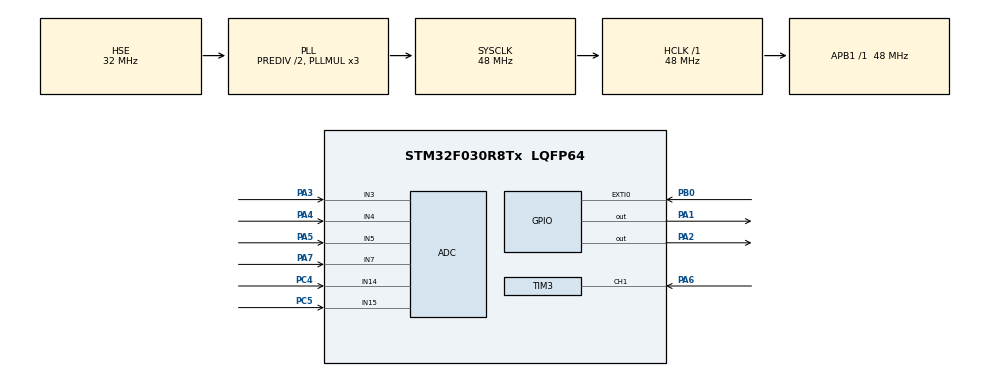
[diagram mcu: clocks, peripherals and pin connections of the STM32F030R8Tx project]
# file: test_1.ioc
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ADC.DMAContinuousRequests=DISABLE
ADC.EOCSelection=ADC_EOC_SEQ_CONV
ADC.ExternalTrigConv=ADC_EXTERNALTRIGCONV_T15_TRGO
ADC.SamplingTime=ADC_SAMPLETIME_55CYCLES_5
Dma.ADC.0.Direction=DMA_PERIPH_TO_MEMORY
Dma.ADC.0.Instance=DMA1_Channel1
Dma.ADC.0.MemDataAlignment=DMA_MDATAALIGN_HALFWORD
Dma.ADC.0.MemInc=DMA_MINC_ENABLE
Dma.ADC.0.Mode=DMA_CIRCULAR
Dma.ADC.0.PeriphDataAlignment=DMA_PDATAALIGN_HALFWORD
Dma.ADC.0.PeriphInc=DMA_PINC_DISABLE
Dma.ADC.0.Priority=DMA_PRIORITY_LOW
Dma.Request0=ADC
Mcu.Family=STM32F0
Mcu.Name=STM32F030R8Tx
Mcu.Package=LQFP64
NVIC.DMA1_Channel1_IRQn=true\:0\:0\:false\:false\:true\:false\:true\:true
NVIC.EXTI0_1_IRQn=true\:0\:0\:false\:false\:true\:true\:true\:true
NVIC.TIM15_IRQn=true\:0\:0\:false\:false\:true\:true\:true\:true
NVIC.TIM3_IRQn=true\:0\:0\:false\:false\:true\:true\:true\:true
PA1.GPIO_PuPd=GPIO_PULLDOWN
PA1.Signal=GPIO_Output
PA13.GPIO_Label=SWDIO
PA13.Mode=Serial_Wire
PA13.Signal=SYS_SWDIO
PA14.GPIO_Label=SWCLK
PA14.Mode=Serial_Wire
PA14.Signal=SYS_SWCLK
PA2.GPIO_PuPd=GPIO_PULLDOWN
PA2.Signal=GPIO_Output
PA3.Mode=IN3
PA3.Signal=ADC_IN3
PA4.Mode=IN4
PA4.Signal=ADC_IN4
PA5.Mode=IN5
PA5.Signal=ADC_IN5
PA6.GPIO_PuPd=GPIO_PULLDOWN
PA6.Signal=S_TIM3_CH1
PA7.Mode=IN7
PA7.Signal=ADC_IN7
PB0.GPIO_PuPd=GPIO_PULLDOWN
PB0.Signal=GPXTI0
PC4.Mode=IN14
PC4.Signal=ADC_IN14
PC5.Mode=IN15
PC5.Signal=ADC_IN15
PF0-OSC_IN.Mode=HSE-External-Oscillator
PF0-OSC_IN.Signal=RCC_OSC_IN
PF1-OSC_OUT.Mode=HSE-External-Oscillator
PF1-OSC_OUT.Signal=RCC_OSC_OUT
ProjectManager.HeapSize=0x200
ProjectManager.StackSize=0x400
ProjectManager.TargetToolchain=STM32CubeIDE
RCC.AHBFreq_Value=48000000
RCC.APB1Freq_Value=48000000
RCC.APB1TimFreq_Value=48000000
RCC.HCLKFreq_Value=48000000
RCC.HSE_VALUE=32000000
RCC.PLLDivider=RCC_PREDIV_DIV2
RCC.PLLMUL=RCC_PLL_MUL3
RCC.PLLSourceVirtual=RCC_PLLSOURCE_HSE
RCC.SYSCLKFreq_VALUE=48000000
RCC.SYSCLKSource=RCC_SYSCLKSOURCE_PLLCLK
SH.S_TIM3_CH1.0=TIM3_CH1,Input_Capture1_from_TI1
TIM15.Period=1
TIM15.Prescaler=1999
TIM15.TIM_MasterOutputTrigger=TIM_TRGO_UPDATE
TIM3.Channel-Input_Capture1_from_TI1=TIM_CHANNEL_1
TIM3.Period=65000
TIM3.Prescaler=0
VP_TIM15_VS_ClockSourceINT.Mode=Internal
VP_TIM3_VS_ClockSourceINT.Mode=Internal
board=32F0308DISCOVERY

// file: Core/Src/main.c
/* USER CODE BEGIN Header */
/**
  ******************************************************************************
  * @file           : main.c
  * @brief          : Main program body
  ******************************************************************************
  * @attention
  *
  * <h2><center>&copy; Copyright (c) 2022 STMicroelectronics.
  * All rights reserved.</center></h2>
  *
  * This software component is licensed by ST under BSD 3-Clause license,
  * the "License"; You may not use this file except in compliance with the
  * License. You may obtain a copy of the License at:
  *                        opensource.org/licenses/BSD-3-Clause
  *
  ******************************************************************************
  */
/* USER CODE END Header */

#include "main.h"

/* USER CODE BEGIN PD */
#define VOLTAGE_COEFFICIENT 0.2725 //Коэффициент напряжения
#define CURRENT_COEFFICIENT 0.00625 //Коэффициент тока
#define MEASUREMENT_FREQUENCY 1000 //Частота измерений
#define ZERO_AXIS 2030 //Средняя точка
#define DEAD_ZONE_SQRT 400 //Квадрат мертвой зоны около опорного напряжения
#define FREQ_LIM_UPP 60 //Верхняя граница чувствительности по частоте Гц
#define FREQ_LIM_LOW 40 //Нижняя граница чувствительности по частоте Гц
/* USER CODE END PD */

ADC_HandleTypeDef hadc;
DMA_HandleTypeDef hdma_adc;

TIM_HandleTypeDef htim3;
TIM_HandleTypeDef htim15;

/* USER CODE BEGIN PV */
uint16_t adc[6] = { 0 }; //Показания АЦП

uint32_t adc_sqrt[6] = { 0 }; //Квадрат мгновенного значения ацп
uint32_t summ_adc_sqrt[6] = { 0 }; //Сумма квадратов мгновенных значений ацп
uint32_t saved_summ_adc_sqrt[6] = { 0 }; //Сохраненная сумма квадратов мгновенных значений ацп
uint32_t prev_saved_summ_adc_sqrt[6] = { 0 }; //Предыдущая сумма квадратов мгновенных значений ацп

uint8_t adc_diff_sqrt[3] = { 0 }; //Квадрат разности мгновенных значения ацп
int32_t summ_adc_diff_sqrt[3] = { 0 }; //Сумма квадратов разности мгновенных значений ацп
int32_t saved_summ_adc_diff_sqrt[3] = { 0 }; //Сохраненная сумма квадратов разности мгновенных значений ацп
int32_t prev_saved_summ_adc_diff_sqrt[3] = { 0 }; //Предыдущая сумма квадратов разности мгновенных значений ацп

float u_rms[3] = { 0.0 }; //Действующее значение напряжения
float i_rms[3] = { 0.0 }; //Действующее значение тока

float u_l[3] = { 0.0 }; //Действующее линейное значение напряжение фазы

uint16_t num_of_meas[6] = { 0 }; //Количество измерений
uint16_t saved_num_of_meas[6] = { 0 }; //Текущее количество измерений
uint16_t prev_saved_num_of_meas[6] = { 0 }; //Предыдущее количество измерений

uint8_t flag_dead_zone = 0; //Флаг перехода измерения в мертвую зону

uint8_t flag_calc = 0; //Флаг разрешения вычисления

uint8_t count_overflow = 0;
uint8_t flag_fr = 0;
uint32_t per = 0;
uint32_t saved_per[3] = { 0 };
float freq = 0;

uint8_t flag_filter = 0;
uint16_t m_1[6] = { 0 };
uint16_t m_2[6] = { 0 };
uint16_t m_3[6] = { 0 };
uint16_t adc_mean[6] = { 0 };
/* USER CODE END PV */

void SystemClock_Config(void);
static void MX_GPIO_Init(void);
static void MX_DMA_Init(void);
static void MX_ADC_Init(void);
static void MX_TIM15_Init(void);
static void MX_TIM3_Init(void);

/* USER CODE BEGIN 0 */
/* Функция извлечения квадратного корня */
uint16_t sqrt_my (uint32_t L)
{
  if (L < 2)
    return (uint16_t) L;

  uint32_t div;
  uint32_t rslt;
  uint32_t temp;

  if (L & 0xFFFF0000L)
    if (L & 0xFF000000L)
      if (L & 0xF0000000L)
	if (L & 0xE0000000L)
	  div = 43771;
	else
	  div = 22250;
      else if (L & 0x0C000000L)
	div = 11310;
      else
	div = 5749;
    else if (L & 0x00F00000L)
      if (L & 0x00C00000L)
	div = 2923;
      else
	div = 1486;
    else if (L & 0x000C0000L)
      div = 755;
    else
      div = 384;
  else if (L & 0xFF00L)
    if (L & 0xF000L)
      if (L & 0xC000L)
	div = 195;
      else
	div = 99;
    else if (L & 0x0C00L)
      div = 50;
    else
      div = 25;
  else if (L & 0xF0L)
    if (L & 0x80L)
      div = 13;
    else
      div = 7;
  else
    div = 3;

  rslt = L;

  while (1)
    {
      temp = L / div;
      temp += div;

      div = temp >> 1;
      div += temp & 1;

      if (rslt > div)
	rslt = div;
      else
	{
	  if (L / rslt == rslt - 1 && L % rslt == 0)
	    rslt--;

	  return (uint16_t) rslt;
	}
    }
}

/* Обработка показаний ацп */
void adc_processing (uint8_t phase)
{
  /* Если измерение больше запрещенной зоны */
  if (adc_sqrt[phase] > DEAD_ZONE_SQRT)
    {
      /* Был ли выход из запрещенной зоны */
      if (flag_dead_zone & (1 << phase))
	{
	  flag_dead_zone &= ~(1 << phase); //Сбрасываем флаг запрещенной зоны

	  /* Сохраняем вычисленные значения если не ведутся расчеты */
	  if (!(flag_calc & (1 << phase)))
	    {
	      flag_calc |= (1 << phase); //Разрешаем расчет

	      saved_summ_adc_sqrt[phase] = summ_adc_sqrt[phase];
	      saved_num_of_meas[phase] = num_of_meas[phase];
	      (phase < 3) ? (saved_summ_adc_diff_sqrt[phase] = summ_adc_diff_sqrt[phase]) : 0;
	    }
	  /* Обнуляем значения вычисленные значения */
	  summ_adc_sqrt[phase] = 0;
	  num_of_meas[phase] = 0;
	  (phase < 3) ? (summ_adc_diff_sqrt[phase] = 0) : 0;
	}

      /* Выхода из запрещенной зоны небыло */
      if (!(flag_dead_zone & (1 << (phase + 3))))
	{
	  ++num_of_meas[phase];
	  summ_adc_sqrt[phase] += adc_sqrt[phase];
	  (phase < 3) ? (summ_adc_diff_sqrt[phase] += adc_diff_sqrt[phase]) : 0;
	}
    }
  /* Если измерение меньше запрещенной зоны */
  else
    {
      flag_dead_zone |= (1 << phase);
    }
}

/* Расчет фазных и линейных напряжений */
void calculation (uint8_t phase)
{

  if (phase < 3)
    {
      u_rms[phase] = (sqrt_my((saved_summ_adc_sqrt[phase] + prev_saved_summ_adc_sqrt[phase]) / (saved_num_of_meas[phase] + prev_saved_num_of_meas[phase]))) * VOLTAGE_COEFFICIENT;
      u_l[phase] = (sqrt_my((saved_summ_adc_diff_sqrt[phase] + prev_saved_summ_adc_diff_sqrt[phase]) / (saved_num_of_meas[phase] + prev_saved_num_of_meas[phase]))) * VOLTAGE_COEFFICIENT;
    }
  else
    {
      i_rms[phase - 3] = 0.006173 * (sqrt_my((saved_summ_adc_sqrt[phase] + prev_saved_summ_adc_sqrt[phase]) / (saved_num_of_meas[phase] + prev_saved_num_of_meas[phase]))) + 0.0123457;
    }
  prev_saved_summ_adc_sqrt[phase] = saved_summ_adc_sqrt[phase];
  prev_saved_num_of_meas[phase] = saved_num_of_meas[phase];
  (phase < 3) ? (prev_saved_summ_adc_diff_sqrt[phase] = saved_summ_adc_diff_sqrt[phase]) : 0;

  flag_calc &= ~(1 << phase);
}

void freq_calculation ()
{
  switch (flag_fr)
    {
    case 0:
      flag_fr = 1;
      saved_per[0] = per;

      break;

    case 1:
      flag_fr = 2;
      saved_per[1] = per;
      break;

    case 2:
      flag_fr = 0;
      saved_per[2] = per;

      freq = 48000000.0 / ((saved_per[0] < saved_per[1]) ? ((saved_per[1] < saved_per[2]) ? saved_per[1] : ((saved_per[2] < saved_per[0]) ? saved_per[0] : saved_per[2])) : ((saved_per[0] < saved_per[2]) ? saved_per[0] : ((saved_per[2] < saved_per[1]) ? saved_per[1] : saved_per[2])));
      break;
    }
}
/* USER CODE END 0 */

int main(void)
{

  /* MCU Configuration--------------------------------------------------------*/

  /* Reset of all peripherals, Initializes the Flash interface and the Systick. */
  HAL_Init();

  /* Configure the system clock */
  SystemClock_Config();

  /* Initialize all configured peripherals */
  MX_GPIO_Init();
  MX_DMA_Init();
  MX_ADC_Init();
  MX_TIM15_Init();
  MX_TIM3_Init();
  /* USER CODE BEGIN 2 */

  HAL_ADCEx_Calibration_Start(&hadc);
  HAL_ADC_Start_DMA(&hadc, (uint32_t *)adc, 6);

  HAL_TIM_Base_Start_IT(&htim15);

  HAL_TIM_Base_Start_IT(&htim3);
  HAL_TIM_IC_Start_IT(&htim3, TIM_CHANNEL_1);
  /* USER CODE END 2 */

  /* Infinite loop */
  /* USER CODE BEGIN WHILE */
  while (1)
    {
      if (flag_calc & (1 << 0) && flag_calc & (1 << 1)  && flag_calc & (1 << 2))
      	{
	  calculation(0);
	  calculation(1);
	  calculation(2);
      	}

      if (flag_calc & (1 << 3))
	{
	  calculation (3);
	}
      if (flag_calc & (1 << 4))
	{
	  calculation (4);
	}
      if (flag_calc & (1 << 5))
	{
	  calculation (5);
	}

      freq_calculation();
    /* USER CODE END WHILE */

    }
}

void SystemClock_Config(void)
{
  RCC_OscInitTypeDef RCC_OscInitStruct = {0};
  RCC_ClkInitTypeDef RCC_ClkInitStruct = {0};

  /** Initializes the CPU, AHB and APB busses clocks
  */
  RCC_OscInitStruct.OscillatorType = RCC_OSCILLATORTYPE_HSI14|RCC_OSCILLATORTYPE_HSE;
  RCC_OscInitStruct.HSEState = RCC_HSE_ON;
  RCC_OscInitStruct.HSI14State = RCC_HSI14_ON;
  RCC_OscInitStruct.HSI14CalibrationValue = 16;
  RCC_OscInitStruct.PLL.PLLState = RCC_PLL_ON;
  RCC_OscInitStruct.PLL.PLLSource = RCC_PLLSOURCE_HSE;
  RCC_OscInitStruct.PLL.PLLMUL = RCC_PLL_MUL3;
  RCC_OscInitStruct.PLL.PREDIV = RCC_PREDIV_DIV2;
  if (HAL_RCC_OscConfig(&RCC_OscInitStruct) != HAL_OK)
  {
    Error_Handler();
  }
  /** Initializes the CPU, AHB and APB busses clocks
  */
  RCC_ClkInitStruct.ClockType = RCC_CLOCKTYPE_HCLK|RCC_CLOCKTYPE_SYSCLK
                              |RCC_CLOCKTYPE_PCLK1;
  RCC_ClkInitStruct.SYSCLKSource = RCC_SYSCLKSOURCE_PLLCLK;
  RCC_ClkInitStruct.AHBCLKDivider = RCC_SYSCLK_DIV1;
  RCC_ClkInitStruct.APB1CLKDivider = RCC_HCLK_DIV1;

  if (HAL_RCC_ClockConfig(&RCC_ClkInitStruct, FLASH_LATENCY_1) != HAL_OK)
  {
    Error_Handler();
  }
}

static void MX_ADC_Init(void)
{

  ADC_ChannelConfTypeDef sConfig = {0};

  /** Configure the global features of the ADC (Clock, Resolution, Data Alignment and number of conversion)
  */
  hadc.Instance = ADC1;
  hadc.Init.ClockPrescaler = ADC_CLOCK_ASYNC_DIV1;
  hadc.Init.Resolution = ADC_RESOLUTION_12B;
  hadc.Init.DataAlign = ADC_DATAALIGN_RIGHT;
  hadc.Init.ScanConvMode = ADC_SCAN_DIRECTION_FORWARD;
  hadc.Init.EOCSelection = ADC_EOC_SEQ_CONV;
  hadc.Init.LowPowerAutoWait = DISABLE;
  hadc.Init.LowPowerAutoPowerOff = DISABLE;
  hadc.Init.ContinuousConvMode = DISABLE;
  hadc.Init.DiscontinuousConvMode = DISABLE;
  hadc.Init.ExternalTrigConv = ADC_EXTERNALTRIGCONV_T15_TRGO;
  hadc.Init.ExternalTrigConvEdge = ADC_EXTERNALTRIGCONVEDGE_RISING;
  hadc.Init.DMAContinuousRequests = DISABLE;
  hadc.Init.Overrun = ADC_OVR_DATA_PRESERVED;
  if (HAL_ADC_Init(&hadc) != HAL_OK)
  {
    Error_Handler();
  }
  /** Configure for the selected ADC regular channel to be converted.
  */
  sConfig.Channel = ADC_CHANNEL_3;
  sConfig.Rank = ADC_RANK_CHANNEL_NUMBER;
  sConfig.SamplingTime = ADC_SAMPLETIME_55CYCLES_5;
  if (HAL_ADC_ConfigChannel(&hadc, &sConfig) != HAL_OK)
  {
    Error_Handler();
  }
  /** Configure for the selected ADC regular channel to be converted.
  */
  sConfig.Channel = ADC_CHANNEL_4;
  if (HAL_ADC_ConfigChannel(&hadc, &sConfig) != HAL_OK)
  {
    Error_Handler();
  }
  /** Configure for the selected ADC regular channel to be converted.
  */
  sConfig.Channel = ADC_CHANNEL_5;
  if (HAL_ADC_ConfigChannel(&hadc, &sConfig) != HAL_OK)
  {
    Error_Handler();
  }
  /** Configure for the selected ADC regular channel to be converted.
  */
  sConfig.Channel = ADC_CHANNEL_7;
  if (HAL_ADC_ConfigChannel(&hadc, &sConfig) != HAL_OK)
  {
    Error_Handler();
  }
  /** Configure for the selected ADC regular channel to be converted.
  */
  sConfig.Channel = ADC_CHANNEL_14;
  if (HAL_ADC_ConfigChannel(&hadc, &sConfig) != HAL_OK)
  {
    Error_Handler();
  }
  /** Configure for the selected ADC regular channel to be converted.
  */
  sConfig.Channel = ADC_CHANNEL_15;
  if (HAL_ADC_ConfigChannel(&hadc, &sConfig) != HAL_OK)
  {
    Error_Handler();
  }

}

static void MX_TIM3_Init(void)
{

  TIM_ClockConfigTypeDef sClockSourceConfig = {0};
  TIM_MasterConfigTypeDef sMasterConfig = {0};
  TIM_IC_InitTypeDef sConfigIC = {0};

  htim3.Instance = TIM3;
  htim3.Init.Prescaler = 0;
  htim3.Init.CounterMode = TIM_COUNTERMODE_UP;
  htim3.Init.Period = 65000;
  htim3.Init.ClockDivision = TIM_CLOCKDIVISION_DIV1;
  htim3.Init.AutoReloadPreload = TIM_AUTORELOAD_PRELOAD_DISABLE;
  if (HAL_TIM_Base_Init(&htim3) != HAL_OK)
  {
    Error_Handler();
  }
  sClockSourceConfig.ClockSource = TIM_CLOCKSOURCE_INTERNAL;
  if (HAL_TIM_ConfigClockSource(&htim3, &sClockSourceConfig) != HAL_OK)
  {
    Error_Handler();
  }
  if (HAL_TIM_IC_Init(&htim3) != HAL_OK)
  {
    Error_Handler();
  }
  sMasterConfig.MasterOutputTrigger = TIM_TRGO_RESET;
  sMasterConfig.MasterSlaveMode = TIM_MASTERSLAVEMODE_DISABLE;
  if (HAL_TIMEx_MasterConfigSynchronization(&htim3, &sMasterConfig) != HAL_OK)
  {
    Error_Handler();
  }
  sConfigIC.ICPolarity = TIM_INPUTCHANNELPOLARITY_RISING;
  sConfigIC.ICSelection = TIM_ICSELECTION_DIRECTTI;
  sConfigIC.ICPrescaler = TIM_ICPSC_DIV1;
  sConfigIC.ICFilter = 0;
  if (HAL_TIM_IC_ConfigChannel(&htim3, &sConfigIC, TIM_CHANNEL_1) != HAL_OK)
  {
    Error_Handler();
  }

}

static void MX_TIM15_Init(void)
{

  TIM_ClockConfigTypeDef sClockSourceConfig = {0};
  TIM_MasterConfigTypeDef sMasterConfig = {0};

  htim15.Instance = TIM15;
  htim15.Init.Prescaler = 1999;
  htim15.Init.CounterMode = TIM_COUNTERMODE_UP;
  htim15.Init.Period = 1;
  htim15.Init.ClockDivision = TIM_CLOCKDIVISION_DIV1;
  htim15.Init.RepetitionCounter = 0;
  htim15.Init.AutoReloadPreload = TIM_AUTORELOAD_PRELOAD_DISABLE;
  if (HAL_TIM_Base_Init(&htim15) != HAL_OK)
  {
    Error_Handler();
  }
  sClockSourceConfig.ClockSource = TIM_CLOCKSOURCE_INTERNAL;
  if (HAL_TIM_ConfigClockSource(&htim15, &sClockSourceConfig) != HAL_OK)
  {
    Error_Handler();
  }
  sMasterConfig.MasterOutputTrigger = TIM_TRGO_UPDATE;
  sMasterConfig.MasterSlaveMode = TIM_MASTERSLAVEMODE_DISABLE;
  if (HAL_TIMEx_MasterConfigSynchronization(&htim15, &sMasterConfig) != HAL_OK)
  {
    Error_Handler();
  }

}

static void MX_DMA_Init(void)
{
  /* DMA controller clock enable */
  __HAL_RCC_DMA1_CLK_ENABLE();

  /* DMA interrupt init */
  /* DMA1_Channel1_IRQn interrupt configuration */
  HAL_NVIC_SetPriority(DMA1_Channel1_IRQn, 0, 0);
  HAL_NVIC_EnableIRQ(DMA1_Channel1_IRQn);

}

static void MX_GPIO_Init(void)
{
  GPIO_InitTypeDef GPIO_InitStruct = {0};

  /* GPIO Ports Clock Enable */
  __HAL_RCC_GPIOF_CLK_ENABLE();
  __HAL_RCC_GPIOA_CLK_ENABLE();
  __HAL_RCC_GPIOC_CLK_ENABLE();
  __HAL_RCC_GPIOB_CLK_ENABLE();

  /*Configure GPIO pin Output Level */
  HAL_GPIO_WritePin(GPIOA, GPIO_PIN_1|GPIO_PIN_2, GPIO_PIN_RESET);

  /*Configure GPIO pins : PA1 PA2 */
  GPIO_InitStruct.Pin = GPIO_PIN_1|GPIO_PIN_2;
  GPIO_InitStruct.Mode = GPIO_MODE_OUTPUT_PP;
  GPIO_InitStruct.Pull = GPIO_PULLDOWN;
  GPIO_InitStruct.Speed = GPIO_SPEED_FREQ_LOW;
  HAL_GPIO_Init(GPIOA, &GPIO_InitStruct);

  /*Configure GPIO pin : PB0 */
  GPIO_InitStruct.Pin = GPIO_PIN_0;
  GPIO_InitStruct.Mode = GPIO_MODE_IT_RISING;
  GPIO_InitStruct.Pull = GPIO_PULLDOWN;
  HAL_GPIO_Init(GPIOB, &GPIO_InitStruct);

  /* EXTI interrupt init*/
  HAL_NVIC_SetPriority(EXTI0_1_IRQn, 0, 0);
  HAL_NVIC_EnableIRQ(EXTI0_1_IRQn);

}

/* USER CODE BEGIN 4 */
void HAL_ADC_ConvCpltCallback (ADC_HandleTypeDef *hadc)
{
  switch (flag_filter)
    {
    case 0:
      flag_filter = 1;

      m_1[0] = adc[0];
      m_1[1] = adc[1];
      m_1[2] = adc[2];
      m_1[3] = adc[3];
      m_1[4] = adc[4];
      m_1[5] = adc[5];
      break;

    case 1:
      flag_filter = 2;

      m_2[0] = adc[0];
      m_2[1] = adc[1];
      m_2[2] = adc[2];
      m_2[3] = adc[3];
      m_2[4] = adc[4];
      m_2[5] = adc[5];
      break;

    case 2:
      flag_filter = 0;

      m_3[0] = adc[0];
      m_3[1] = adc[1];
      m_3[2] = adc[2];
      m_3[3] = adc[3];
      m_3[4] = adc[4];
      m_3[5] = adc[5];

      adc_mean[0] = (m_1[0] < m_2[0]) ? ((m_2[0] < m_3[0]) ? m_2[0] : ((m_3[0] < m_1[0]) ? m_1[0] : m_3[0])) : ((m_1[0] < m_3[0]) ? m_1[0] : ((m_3[0] < m_2[0]) ? m_2[0] : m_3[0]));
      adc_mean[1] = (m_1[1] < m_2[1]) ? ((m_2[1] < m_3[1]) ? m_2[1] : ((m_3[1] < m_1[1]) ? m_1[1] : m_3[1])) : ((m_1[1] < m_3[1]) ? m_1[1] : ((m_3[1] < m_2[1]) ? m_2[1] : m_3[1]));
      adc_mean[2] = (m_1[2] < m_2[2]) ? ((m_2[2] < m_3[2]) ? m_2[2] : ((m_3[2] < m_1[2]) ? m_1[2] : m_3[2])) : ((m_1[2] < m_3[2]) ? m_1[2] : ((m_3[2] < m_2[2]) ? m_2[2] : m_3[2]));
      adc_mean[3] = (m_1[3] < m_2[3]) ? ((m_2[3] < m_3[3]) ? m_2[3] : ((m_3[3] < m_1[3]) ? m_1[3] : m_3[3])) : ((m_1[3] < m_3[3]) ? m_1[3] : ((m_3[3] < m_2[3]) ? m_2[3] : m_3[3]));
      adc_mean[4] = (m_1[4] < m_2[4]) ? ((m_2[4] < m_3[4]) ? m_2[4] : ((m_3[4] < m_1[4]) ? m_1[4] : m_3[4])) : ((m_1[4] < m_3[4]) ? m_1[4] : ((m_3[4] < m_2[4]) ? m_2[4] : m_3[4]));
      adc_mean[5] = (m_1[5] < m_2[5]) ? ((m_2[5] < m_3[5]) ? m_2[5] : ((m_3[5] < m_1[5]) ? m_1[5] : m_3[5])) : ((m_1[5] < m_3[5]) ? m_1[5] : ((m_3[5] < m_2[5]) ? m_2[5] : m_3[5]));

      /* Вычисление квадрата мгновенного значения ацп */
      adc_sqrt[0] = (adc_mean[0] - ZERO_AXIS) * (adc_mean[0] - ZERO_AXIS);
      adc_sqrt[1] = (adc_mean[1] - ZERO_AXIS) * (adc_mean[1] - ZERO_AXIS);
      adc_sqrt[2] = (adc_mean[2] - ZERO_AXIS) * (adc_mean[2] - ZERO_AXIS);

      adc_sqrt[3] = (adc_mean[3] - (ZERO_AXIS + 4)) * (adc_mean[3] - (ZERO_AXIS + 4));
      adc_sqrt[4] = (adc_mean[4] - (ZERO_AXIS + 7)) * (adc_mean[4] - (ZERO_AXIS + 7));
      adc_sqrt[5] = (adc_mean[5] - (ZERO_AXIS - 5)) * (adc_mean[5] - (ZERO_AXIS - 5));

      /* Вычисление квадрата разности мгновенных значения ацп */
      adc_diff_sqrt[0] = (adc_mean[0] - adc_mean[1]) * (adc[0] - adc_mean[1]);
      adc_diff_sqrt[1] = (adc_mean[1] - adc_mean[2]) * (adc[1] - adc_mean[2]);
      adc_diff_sqrt[2] = (adc_mean[2] - adc_mean[0]) * (adc[2] - adc_mean[0]);

      /* Обработка вычисленных значений */
      adc_processing (0);
      adc_processing (1);
      adc_processing (2);
      adc_processing (3);
      adc_processing (4);
      adc_processing (5);
      break;
    }

  /* Запуск нового измерения */
  HAL_ADC_Start_DMA (hadc, (uint32_t*) adc, 6);
}

void
HAL_TIM_IC_CaptureCallback (TIM_HandleTypeDef *htim)
{
  if (htim->Instance == TIM3)
    {
      if (htim->Channel == HAL_TIM_ACTIVE_CHANNEL_1)
	{
	  per = HAL_TIM_ReadCapturedValue (&htim3, TIM_CHANNEL_1) + (65001 * count_overflow);
	  count_overflow = 0;
	  TIM3->CNT = 0;
	}
    }
}

/*
void HAL_TIM_IC_CaptureCallback (TIM_HandleTypeDef *htim)
{
  if (htim->Instance == TIM3)
    {
      if (htim->Channel == HAL_TIM_ACTIVE_CHANNEL_1)
	{
	  switch (flag_fr)
	    {
	    case 0:
	      flag_fr = 1;
	      saved_per[0] = HAL_TIM_ReadCapturedValue (&htim3, TIM_CHANNEL_1) + (65001 * count_overflow);
	      count_overflow = 0;
	      break;

	    case 1:
	      flag_fr = 2;
	      saved_per[1] = HAL_TIM_ReadCapturedValue (&htim3, TIM_CHANNEL_1) + (65001 * count_overflow);
	      count_overflow = 0;
	      break;

	    case 2:
	      flag_fr = 0;
	      saved_per[2] = HAL_TIM_ReadCapturedValue (&htim3, TIM_CHANNEL_1) + (65001 * count_overflow);
	      count_overflow = 0;

	      freq = 48000000.0 / ((saved_per[0] < saved_per[1]) ? ((saved_per[1] < saved_per[2]) ? saved_per[1] : ((saved_per[2] < saved_per[0]) ? saved_per[0] : saved_per[2])) : ((saved_per[0] < saved_per[2]) ? saved_per[0] : ((saved_per[2] < saved_per[1]) ? saved_per[1] : saved_per[2])));
	      break;
	    }
	  TIM3->CNT = 0;
	}
    }
}
*/

void HAL_TIM_PeriodElapsedCallback (TIM_HandleTypeDef *htim)
{
  if (htim->Instance == TIM3)
    {
      ++count_overflow;
    }
}
/* USER CODE END 4 */

void Error_Handler(void)
{
}

/************************ (C) COPYRIGHT STMicroelectronics *****END OF FILE****/
